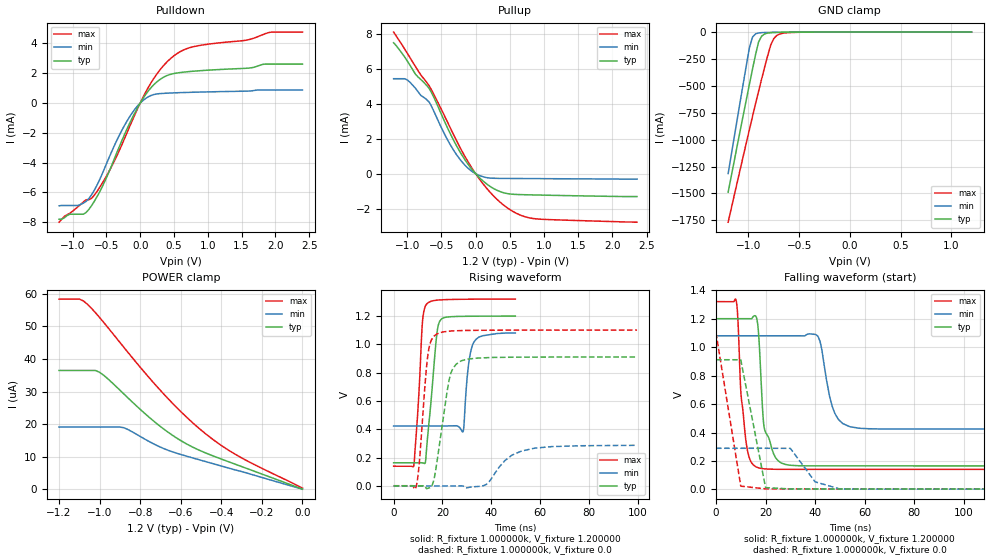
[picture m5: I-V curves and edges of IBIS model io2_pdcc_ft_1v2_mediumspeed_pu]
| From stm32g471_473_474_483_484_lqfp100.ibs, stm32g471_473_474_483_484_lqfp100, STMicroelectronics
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|   Model io2_pdcc_ft_1v2_mediumspeed_pu
[Model]  io2_pdcc_ft_1v2_mediumspeed_pu
Model_type I/O
Polarity   Non-Inverting
Enable   Active-Low
Vinl =   0.360000V
Vinh =   0.840000V
Vmeas =  0.600000V
Cref =   30.000000pF
Rref =   100.000000M
Vref =   0.0V
C_comp   3.923200pF   3.103700pF   4.923200pF
[Temperature Range]   25.000000   -40.000000   0.125000k
[Pullup Reference]   1.200000V   1.080000V   1.320000V
[Pulldown Reference]   0.0V   0.0V   0.0V
[POWER Clamp Reference]   1.200000V   1.080000V   1.320000V
[GND Clamp Reference]   0.0V   0.0V   0.0V
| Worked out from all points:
|   slope of the pulldown table from 0 to 0.18 V, typ, clamps not added: 160 ohm
|   slope of the pullup table from 0 to 0.18 V, typ, clamps not added: 281 ohm
|   GND clamp passes 1 mA (typ) near -0.58 V on its own axis
|   rising waveform, R_fixture 1.000000k, V_fixture 1.200000: 20-80 % time 3.17ns typ, 2.34ns min, 2.23ns max; typ from 0.165 V to 1.2 V
|   rising waveform, R_fixture 1.000000k, V_fixture 0.0: 20-80 % time 4.66ns typ, 9.8ns min, 2.94ns max; typ from 0.003 V to 0.911 V
|   falling waveform, R_fixture 1.000000k, V_fixture 1.200000: 20-80 % time 3.48ns typ, 4.51ns min, 2.72ns max; typ from 1.2 V to 0.165 V
|   falling waveform, R_fixture 1.000000k, V_fixture 0.0: 20-80 % time 6.07ns typ, 7.32ns min, 6.11ns max; typ from 0.912 V to 0.003 V
[Pulldown]
|Voltage   I(typ)   I(min)   I(max)
-1.2V     -7.8mA     -6.9mA     -8mA
-920mV    -7.464mA   -6.88mA    -6.96mA
-760mV    -7.144mA   -6.413mA   -6.493mA
-480mV    -4.818mA   -3.873mA   -4.747mA
-280mV    -2.617mA   -1.907mA   -2.891mA
-80mV     -663.5uA   -423.3uA   -790.1uA
200mV     1.224mA    564.7uA    1.641mA
480mV     1.961mA    676.8uA    3.102mA
840mV     2.152mA    728.6uA    3.829mA
1.56V     2.329mA    794.4uA    4.211mA
1.92V     2.611mA    868.6uA    4.747mA
2.4V      2.611mA    868.6uA    4.759mA
[Pullup]
|Voltage   I(typ)   I(min)   I(max)
-1.2V     7.513mA    5.451mA    8.126mA
-1V       6.468mA    5.38mA     6.911mA
-880mV    5.704mA    4.9mA      6.144mA
-800mV    5.399mA    4.489mA    5.657mA
-680mV    4.89mA     4.114mA    5.043mA
-360mV    2.208mA    1.588mA    2.538mA
-120mV    590.4uA    347.2uA    740.8uA
120mV     -457uA     -187.5uA   -639uA
400mV     -1.08mA    -267.8uA   -1.772mA
600mV     -1.19mA    -273.6uA   -2.279mA
840mV     -1.216mA   -279.5uA   -2.568mA
2.36V     -1.31mA    -310uA     -2.78mA
[GND_clamp]
|Voltage   I(typ)   I(min)   I(max)
-1.2V     -1.489A    -1.316A    -1.768A
-990mV    -483.9mA   -143.2mA   -905.1mA
-960mV    -345.5mA   -47.06mA   -785.1mA
-930mV    -210.2mA   -16.78mA   -666.5mA
-900mV    -91.9mA    -7.899mA   -550mA
-870mV    -37.65mA   -5.169mA   -436mA
-780mV    -5.831mA   -2.725mA   -119.5mA
-750mV    -4.305mA   -2.173mA   -59.87mA
-720mV    -3.378mA   -1.668mA   -31.03mA
-660mV    -2.12mA    -830uA     -10.46mA
-480mV    -193.8uA   -7.86uA    -1.422mA
1.2V      0A         0A         248.8nA
[POWER_clamp]
|Voltage   I(typ)   I(min)   I(max)
-1.2V     36.48uA    19.09uA    58.42uA
-1.1V     36.48uA    19.09uA    58.42uA
-1.06V    36.48uA    19.09uA    56.81uA
-1.02V    36.48uA    19.09uA    54.19uA
-1V       35.91uA    19.09uA    52.74uA
-880mV    29.22uA    18.87uA    43.54uA
-780mV    23.41uA    15.48uA    36.01uA
-680mV    18.29uA    12.38uA    28.98uA
-580mV    14.2uA     10.29uA    22.64uA
-460mV    10.69uA    8.168uA    16.15uA
-300mV    6.945uA    5.404uA    9.607uA
0V        0A         0A         321.9nA
[Ramp]
| variable   typ   min   max
dV/dt_r  0.70121/3.03627n   0.61346/9.92870n   0.77582/2.50154n
dV/dt_f  0.70865/3.04585n   0.63180/3.52947n   0.78129/2.51784n
R_load = 10.000000k
[Rising Waveform]
R_fixture= 1.000000k
V_fixture= 1.200000
V_fixture_min= 1.080000
V_fixture_max= 1.320000
|time   V(typ)   V(min)   V(max)
0s        165.3mV    424.4mV    141mV
8.308ns   165.3mV    424.4mV    149.4mV
11.81ns   164.5mV    424.4mV    1.157V
13.51ns   265.7mV    424.4mV    1.284V
17.32ns   1.01V      424.4mV    1.31V
18.82ns   1.161V     424.5mV    1.313V
28.43ns   1.197V     383.3mV    1.317V
30.83ns   1.198V     874.6mV    1.318V
33.73ns   1.198V     1.035V     1.318V
49.85ns   1.199V     1.08V      1.319V
[Rising Waveform]
R_fixture= 1.000000k
V_fixture= 0.0
V_fixture_min= 0.0
V_fixture_max= 0.0
|time   V(typ)   V(min)   V(max)
0s        3.071mV    2.063mV    3.622mV
9.209ns   3.065mV    2.067mV    -3.675mV
10.41ns   3.056mV    2.067mV    144mV
14.01ns   -14.77mV   2.067mV    921.1mV
17.82ns   178.9mV    2.066mV    1.074V
23.22ns   783.6mV    2.052mV    1.093V
27.63ns   883.4mV    2.446mV    1.097V
37.84ns   905.6mV    11.86mV    1.099V
52.45ns   909.5mV    248.4mV    1.1V
99.7ns    910.8mV    288.4mV    1.101V
[Falling Waveform]
R_fixture= 1.000000k
V_fixture= 1.200000
V_fixture_min= 1.080000
V_fixture_max= 1.320000
|time   V(typ)   V(min)   V(max)
0s        1.2V       1.08V      1.32V
8.168ns   1.2V       1.08V      1.327V
12.01ns   1.2V       1.08V      351.5mV
16.1ns    1.217V     1.08V      159.3mV
19.46ns   435.3mV    1.08V      145.1mV
26.43ns   185.6mV    1.08V      141.5mV
41.08ns   165.7mV    1.078V     141.3mV
47.09ns   165.6mV    576.5mV    141.3mV
54.05ns   165.6mV    440.8mV    141.2mV
119.6ns   165.4mV    424.9mV    141.1mV
[Falling Waveform]
R_fixture= 1.000000k
V_fixture= 0.0
V_fixture_min= 0.0
V_fixture_max= 0.0
|time   V(typ)   V(min)   V(max)
0s        911.6mV    289.3mV    1.101V
10.01ns   911.5mV    289.3mV    23.07mV
20.02ns   12.95mV    289.3mV    3.998mV
30.03ns   3.482mV    288.9mV    3.854mV
40.04ns   3.288mV    53.33mV    3.815mV
50.05ns   3.258mV    3.127mV    3.781mV
991ns     3.071mV    2.063mV    3.623mV
